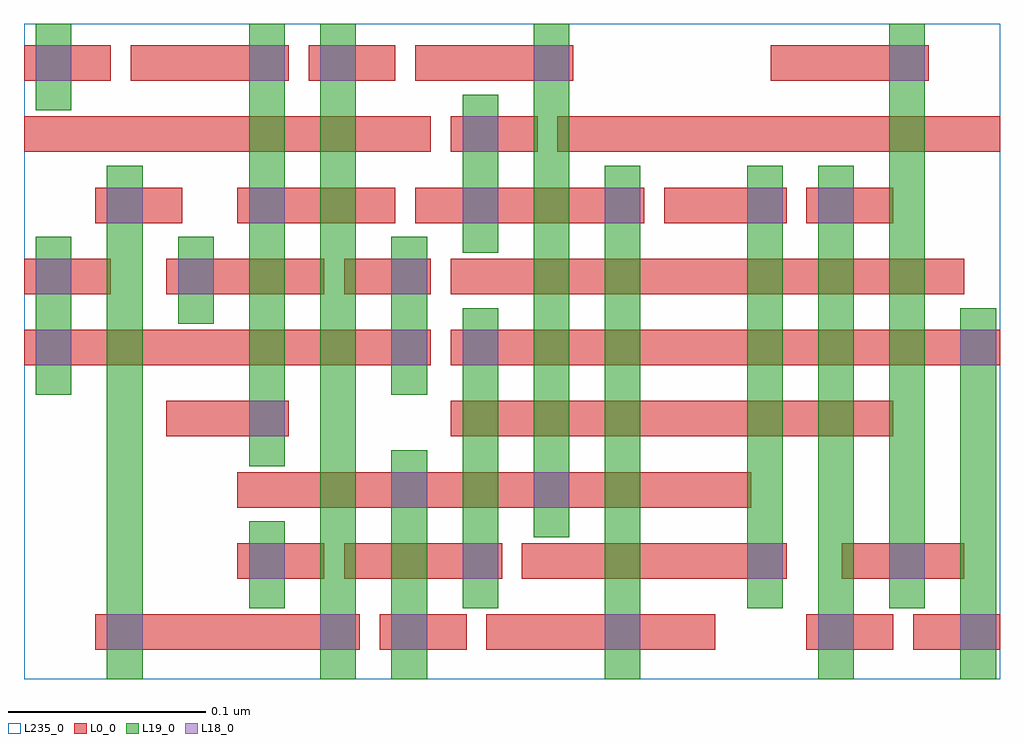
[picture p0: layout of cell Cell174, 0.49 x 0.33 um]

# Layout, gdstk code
import gdstk
lib = gdstk.Library(unit=1e-6, precision=2.5e-10)
def R(c, l, rs):  # rectangles x0, y0, x1, y1
    for r in rs: c.add(gdstk.rectangle(r[:2], r[2:], *l))
def A(c, l, x, y, w, h, nx, ny, dx, dy):  # array of equal rectangles
    R(c, l, [(x+i*dx, y+j*dy, x+i*dx+w, y+j*dy+h) for i in range(nx) for j in range(ny)])
L0_0 = (0, 0)
L18_0 = (18, 0)
L19_0 = (19, 0)
L235_0 = (235, 0)

cell174 = lib.new_cell('Cell174')
R(cell174, L0_0, [(0.04,-0.001,0.174,0.017), (0.184,-0.001,0.228,0.017), (0.238,-0.001,0.354,0.017), (0.4,-0.001,0.444,0.017), (0.454,-0.001,0.498,0.017), (0.112,0.035,0.156,0.053), (0.166,0.035,0.246,0.053), (0.256,0.035,0.39,0.053), (0.418,0.035,0.48,0.053), (0.112,0.071,0.372,0.089), (0.076,0.107,0.138,0.125), (0.22,0.107,0.444,0.125), (0.004,0.143,0.21,0.161), (0.22,0.143,0.498,0.161), (0.004,0.179,0.048,0.197), (0.076,0.179,0.156,0.197), (0.166,0.179,0.21,0.197), (0.22,0.179,0.48,0.197), (0.04,0.215,0.084,0.233), (0.112,0.215,0.192,0.233), (0.202,0.215,0.318,0.233), (0.328,0.215,0.39,0.233), (0.4,0.215,0.444,0.233), (0.004,0.251,0.21,0.269), (0.22,0.251,0.264,0.269), (0.274,0.251,0.498,0.269), (0.004,0.287,0.048,0.305), (0.058,0.287,0.138,0.305), (0.148,0.287,0.192,0.305), (0.202,0.287,0.282,0.305), (0.382,0.287,0.462,0.305)])
A(cell174, L18_0, 0.19, -0.001, 0.018, 0.018, 3, 1, 0.108, 0)
A(cell174, L18_0, 0.226, 0.035, 0.018, 0.018, 1, 3, 0, 0.108)
A(cell174, L18_0, 0.226, 0.215, 0.018, 0.018, 3, 1, 0.072, 0)
R(cell174, L18_0, [(0.046,-0.001,0.064,0.017), (0.154,-0.001,0.172,0.017), (0.478,-0.001,0.496,0.017), (0.118,0.035,0.136,0.053), (0.37,0.035,0.388,0.053), (0.442,0.035,0.46,0.053), (0.19,0.071,0.208,0.089), (0.262,0.071,0.28,0.089), (0.118,0.107,0.136,0.125), (0.01,0.143,0.028,0.161), (0.19,0.143,0.208,0.161), (0.478,0.143,0.496,0.161), (0.01,0.179,0.028,0.197), (0.082,0.179,0.1,0.197), (0.19,0.179,0.208,0.197), (0.046,0.215,0.064,0.233), (0.118,0.215,0.136,0.233), (0.406,0.215,0.424,0.233), (0.01,0.287,0.028,0.305), (0.118,0.287,0.136,0.305), (0.154,0.287,0.172,0.305), (0.262,0.287,0.28,0.305), (0.442,0.287,0.46,0.305)])
R(cell174, L19_0, [(0.046,-0.016,0.064,0.244), (0.154,-0.016,0.172,0.316), (0.19,-0.016,0.208,0.1), (0.298,-0.016,0.316,0.244), (0.406,-0.016,0.424,0.244), (0.478,-0.016,0.496,0.172), (0.118,0.02,0.136,0.064), (0.226,0.02,0.244,0.172), (0.37,0.02,0.388,0.244), (0.442,0.02,0.46,0.316), (0.262,0.056,0.28,0.316), (0.118,0.092,0.136,0.316), (0.01,0.128,0.028,0.208), (0.19,0.128,0.208,0.208), (0.082,0.164,0.1,0.208), (0.226,0.2,0.244,0.28), (0.01,0.272,0.028,0.316)])
R(cell174, L235_0, [(0.004,-0.016,0.498,0.316)])

lib.write_gds('Cell174.gds')
